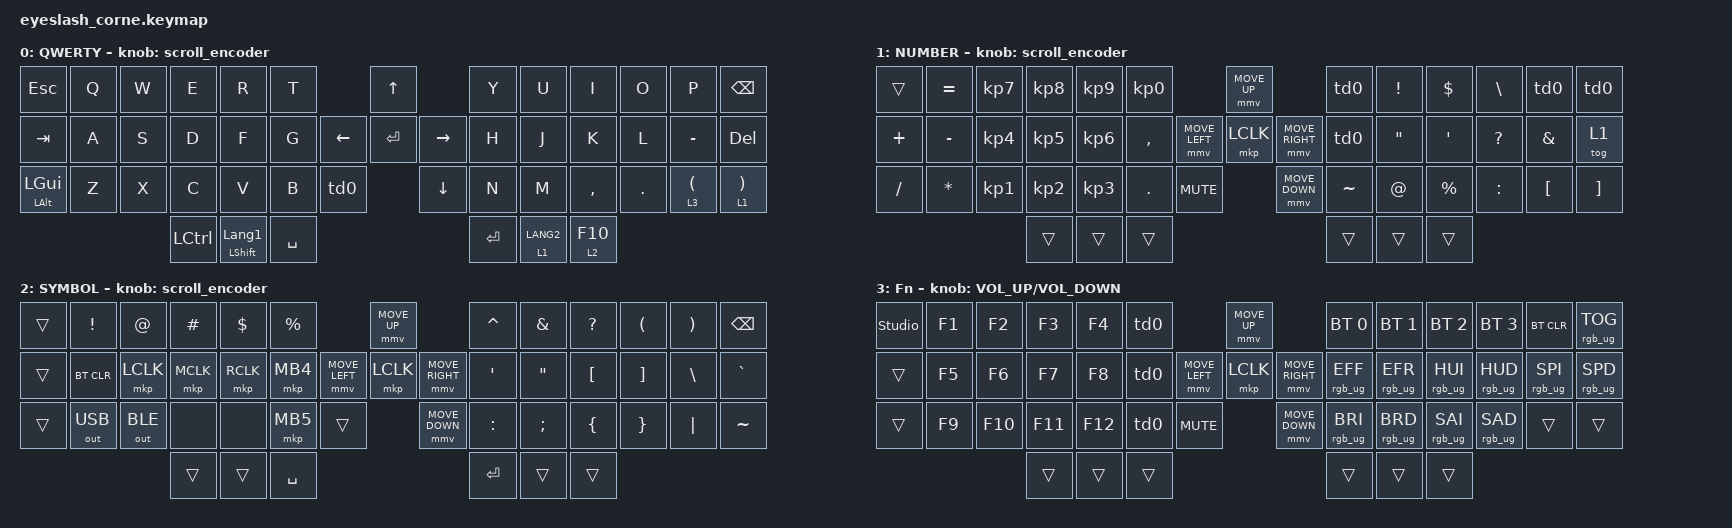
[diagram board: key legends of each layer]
#define ZMK_POINTING_DEFAULT_MOVE_VAL 1200  // 600
#define ZMK_POINTING_DEFAULT_SCRL_VAL 25   // 10

#include <input/processors.dtsi>
#include <zephyr/dt-bindings/input/input-event-codes.h>
#include <behaviors.dtsi>
#include <dt-bindings/zmk/bt.h>
#include <dt-bindings/zmk/keys.h>
#include <dt-bindings/zmk/outputs.h>
#include <dt-bindings/zmk/pointing.h>
#include <dt-bindings/zmk/rgb.h>

&mmv_input_listener { input-processors = <&zip_xy_scaler 2 1>; };

&msc_input_listener { input-processors = <&zip_scroll_scaler 2 1>; };

&msc {
    acceleration-exponent = <1>;      // 0
    time-to-max-speed-ms = <100>;       // 300
    delay-ms = <0>;                   // 0
};

&mmv {
    time-to-max-speed-ms = <500>;
    acceleration-exponent = <1>;
    trigger-period-ms = <16>;
};

/ {
    behaviors {
        td0: td0 {
            compatible = "zmk,behavior-tap-dance";
            display-name = "Shift/Caps Lock Tap Dance";
            #binding-cells = <0>;
            bindings = <&kp LEFT_SHIFT>, <&kp CAPS>;
        };
    };

    rgb_encoder: rgb_encoder {
        compatible = "zmk,behavior-sensor-rotate";
        #sensor-binding-cells = <0>;
        bindings = <&rgb_ug RGB_BRI>, <&rgb_ug RGB_BRD>;
    };

    scroll_encoder: scroll_encoder {
        compatible = "zmk,behavior-sensor-rotate";
        #sensor-binding-cells = <0>;
        bindings = <&msc SCRL_DOWN>, <&msc SCRL_UP>;

        tap-ms = <100>;
    };

    keymap {
        compatible = "zmk,keymap";

        default_layer {
            display-name = "QWERTY";
            bindings = <
&kp ESC                &kp Q  &kp W  &kp E      &kp R                  &kp T                        &kp UP                &kp Y      &kp U        &kp I      &kp O    &kp P                   &kp BSPC
&kp TAB                &kp A  &kp S  &kp D      &kp F                  &kp G              &kp LEFT  &kp ENTER  &kp RIGHT  &kp H      &kp J        &kp K      &kp L    &kp MINUS               &kp DELETE
&mt LEFT_ALT LEFT_GUI  &kp Z  &kp X  &kp C      &kp V                  &kp B      &td0              &kp DOWN              &kp N      &kp M        &kp COMMA  &kp DOT  &lt 3 LEFT_PARENTHESIS  &lt 1 RIGHT_PARENTHESIS
                                     &kp LCTRL  &mt LSHIFT LANGUAGE_1  &kp SPACE                                          &kp ENTER  &lt 1 LANG2  &lt 2 F10
            >;

            sensor-bindings = <&scroll_encoder>;
        };

        lower_layer {
            display-name = "NUMBER";
            bindings = <
&trans     &kp EQUAL  &kp KP_NUMBER_7  &kp KP_NUMBER_8  &kp KP_NUMBER_9  &kp KP_NUMBER_0                                &mmv MOVE_UP                     &td0       &kp EXCLAMATION    &kp DOLLAR        &kp BACKSLASH  &td0              &td0
&kp PLUS   &kp MINUS  &kp KP_NUMBER_4  &kp KP_NUMBER_5  &kp KP_NUMBER_6  &kp COMMA                      &mmv MOVE_LEFT  &mkp LCLK       &mmv MOVE_RIGHT  &td0       &kp DOUBLE_QUOTES  &kp SINGLE_QUOTE  &kp QUESTION   &kp AMPERSAND     &tog 1
&kp SLASH  &kp STAR   &kp KP_NUMBER_1  &kp KP_NUMBER_2  &kp KP_NUMBER_3  &kp DOT          &kp C_MUTE                    &mmv MOVE_DOWN                   &kp TILDE  &kp AT_SIGN        &kp PERCENT       &kp COLON      &kp LEFT_BRACKET  &kp RIGHT_BRACKET
                                       &trans           &trans           &trans                                                                          &trans     &trans             &trans
            >;

            sensor-bindings = <&scroll_encoder>;
        };

        raise_layer {
            display-name = "SYMBOL";
            bindings = <
&trans  &kp EXCL      &kp AT        &kp HASH   &kp DLLR   &kp PRCNT                            &mmv MOVE_UP                     &kp CARET         &kp AMPS           &kp QUESTION  &kp LPAR  &kp RPAR  &kp BSPC
&trans  &bt BT_CLR    &mkp LCLK     &mkp MCLK  &mkp RCLK  &mkp MB4             &mmv MOVE_LEFT  &mkp LCLK       &mmv MOVE_RIGHT  &kp SINGLE_QUOTE  &kp DOUBLE_QUOTES  &kp LBKT      &kp RBKT  &kp BSLH  &kp GRAVE
&trans  &out OUT_USB  &out OUT_BLE  &none      &none      &mkp MB5   &trans                    &mmv MOVE_DOWN                   &kp COLON         &kp SEMICOLON      &kp LBRC      &kp RBRC  &kp PIPE  &kp TILDE
                                    &trans     &trans     &kp SPACE                                                             &kp RET           &trans             &trans
            >;

            sensor-bindings = <&scroll_encoder>;
        };

        layer_3 {
            display-name = "Fn";
            bindings = <
&studio_unlock  &kp F1  &kp F2   &kp F3   &kp F4   &td0                                  &mmv MOVE_UP                     &bt BT_SEL 0     &bt BT_SEL 1     &bt BT_SEL 2     &bt BT_SEL 3     &bt BT_CLR       &rgb_ug RGB_TOG
&trans          &kp F5  &kp F6   &kp F7   &kp F8   &td0                  &mmv MOVE_LEFT  &mkp LCLK       &mmv MOVE_RIGHT  &rgb_ug RGB_EFF  &rgb_ug RGB_EFR  &rgb_ug RGB_HUI  &rgb_ug RGB_HUD  &rgb_ug RGB_SPI  &rgb_ug RGB_SPD
&trans          &kp F9  &kp F10  &kp F11  &kp F12  &td0    &kp C_MUTE                    &mmv MOVE_DOWN                   &rgb_ug RGB_BRI  &rgb_ug RGB_BRD  &rgb_ug RGB_SAI  &rgb_ug RGB_SAD  &trans           &trans
                                 &trans   &trans   &trans                                                                 &trans           &trans           &trans
            >;

            sensor-bindings = <&inc_dec_kp K_VOLUME_UP C_VOLUME_DOWN>;
        };
    };
};
